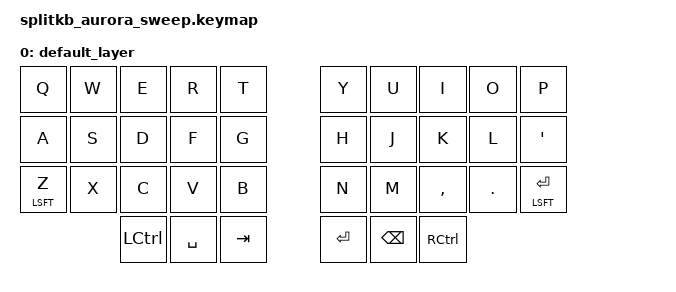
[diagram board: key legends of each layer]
/*
 * Copyright (c) 2022 The ZMK Contributors
 *
 * SPDX-License-Identifier: MIT
 */

#include <behaviors.dtsi>
#include <dt-bindings/zmk/keys.h>
#include <dt-bindings/zmk/bt.h>


&mt {
  //  flavor = "tap-preferred";
   // tapping_term_ms = <200>;
};

/ {


        keymap {
                compatible = "zmk,keymap";

            default_layer {
        bindings = <
        &kp Q &kp W &kp E &kp R &kp T                       &kp Y &kp U  &kp I    &kp O   &kp P
        &kp A &kp S &kp D &kp F &kp G                               &kp H &kp J &kp K &kp L &kp QUOT
        &mt LSFT Z &kp X &kp C &kp V &kp B                      &kp N &kp M  &kp CMMA &kp DOT &mt LSFT RET
                        &kp LCTL &kp SPC &kp TAB                  &kp ENTER &kp BSPC &kp RCTL
        >;
        };

    };
};
